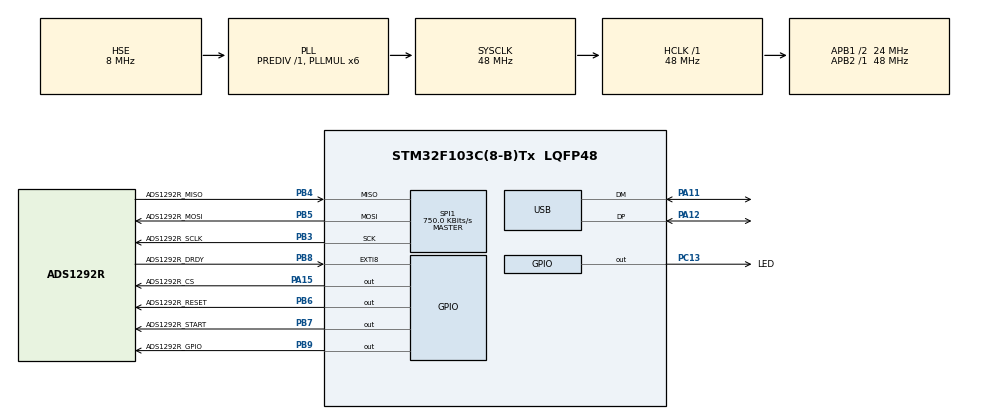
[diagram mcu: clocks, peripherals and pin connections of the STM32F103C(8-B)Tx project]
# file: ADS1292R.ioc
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Mcu.Family=STM32F1
Mcu.Name=STM32F103C(8-B)Tx
Mcu.Package=LQFP48
NVIC.EXTI9_5_IRQn=true\:0\:0\:false\:false\:true\:true\:true\:true
NVIC.PriorityGroup=NVIC_PRIORITYGROUP_4
NVIC.USB_LP_CAN1_RX0_IRQn=true\:0\:0\:false\:false\:true\:false\:true\:true
PA11.Mode=Device
PA11.Signal=USB_DM
PA12.Mode=Device
PA12.Signal=USB_DP
PA13.Mode=Serial_Wire
PA13.Signal=SYS_JTMS-SWDIO
PA14.Mode=Serial_Wire
PA14.Signal=SYS_JTCK-SWCLK
PA15.GPIO_Label=ADS1292R_CS
PA15.GPIO_PuPd=GPIO_NOPULL
PA15.PinState=GPIO_PIN_SET
PA15.Signal=GPIO_Output
PB3.GPIO_Label=ADS1292R_SCLK
PB3.Mode=Full_Duplex_Master
PB3.Signal=SPI1_SCK
PB4.GPIO_Label=ADS1292R_MISO
PB4.Mode=Full_Duplex_Master
PB4.Signal=SPI1_MISO
PB5.GPIO_Label=ADS1292R_MOSI
PB5.Mode=Full_Duplex_Master
PB5.Signal=SPI1_MOSI
PB6.GPIO_Label=ADS1292R_RESET
PB6.Signal=GPIO_Output
PB7.GPIO_Label=ADS1292R_START
PB7.Signal=GPIO_Output
PB8.GPIO_Label=ADS1292R_DRDY
PB8.GPIO_ModeDefaultEXTI=GPIO_MODE_IT_FALLING
PB8.GPIO_PuPd=GPIO_PULLUP
PB8.Signal=GPXTI8
PB9.GPIO_Label=ADS1292R_GPIO
PB9.Signal=GPIO_Output
PC13-TAMPER-RTC.GPIO_Label=LED
PC13-TAMPER-RTC.GPIO_PuPd=GPIO_PULLUP
PC13-TAMPER-RTC.PinState=GPIO_PIN_SET
PC13-TAMPER-RTC.Signal=GPIO_Output
PC14-OSC32_IN.Mode=LSE-External-Oscillator
PC14-OSC32_IN.Signal=RCC_OSC32_IN
PC15-OSC32_OUT.Mode=LSE-External-Oscillator
PC15-OSC32_OUT.Signal=RCC_OSC32_OUT
PD0-OSC_IN.Mode=HSE-External-Oscillator
PD0-OSC_IN.Signal=RCC_OSC_IN
PD1-OSC_OUT.Mode=HSE-External-Oscillator
PD1-OSC_OUT.Signal=RCC_OSC_OUT
ProjectManager.HeapSize=0x400
ProjectManager.StackSize=0x400
ProjectManager.TargetToolchain=Makefile
RCC.AHBFreq_Value=48000000
RCC.APB1CLKDivider=RCC_HCLK_DIV2
RCC.APB1Freq_Value=24000000
RCC.APB1TimFreq_Value=48000000
RCC.APB2Freq_Value=48000000
RCC.APB2TimFreq_Value=48000000
RCC.HCLKFreq_Value=48000000
RCC.PLLMUL=RCC_PLL_MUL6
RCC.SYSCLKFreq_VALUE=48000000
RCC.SYSCLKSource=RCC_SYSCLKSOURCE_PLLCLK
RCC.USBFreq_Value=48000000
SPI1.BaudRatePrescaler=SPI_BAUDRATEPRESCALER_64
SPI1.CLKPhase=SPI_PHASE_2EDGE
SPI1.CalculateBaudRate=750.0 KBits/s
SPI1.Direction=SPI_DIRECTION_2LINES
SPI1.Mode=SPI_MODE_MASTER
SPI1.VirtualType=VM_MASTER
USB_DEVICE.CLASS_NAME_FS=CDC
USB_DEVICE.VirtualMode=Cdc
USB_DEVICE.VirtualModeFS=Cdc_FS
VP_USB_DEVICE_VS_USB_DEVICE_CDC_FS.Mode=CDC_FS
board=custom

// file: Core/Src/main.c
/* USER CODE BEGIN Header */
/**
  ******************************************************************************
  * @file           : main.c
  * @brief          : Main program body
  ******************************************************************************
  * @attention
  *
  * Copyright (c) 2025 STMicroelectronics.
  * All rights reserved.
  *
  * This software is licensed under terms that can be found in the LICENSE file
  * in the root directory of this software component.
  * If no LICENSE file comes with this software, it is provided AS-IS.
  *
  ******************************************************************************
  */
/* USER CODE END Header */
#include "main.h"
#include "usb_device.h"

/* USER CODE BEGIN Includes */
#include "ads1292r.h"
/* USER CODE END Includes */

/* USER CODE BEGIN PV */
extern uint8_t ADS1292R_data_buf[9]; //ADS1292 data buffer
extern volatile uint8_t ADS1292R_receive_flag;

uint32_t channel[2] = {0}; //ADS1292R dual channel data
/* USER CODE END PV */

/* USER CODE BEGIN PFP */
uint32_t get_volt(uint32_t num);
void HAL_GPIO_EXTI_Callback(uint16_t GPIO_Pin);
/* USER CODE END PFP */

int main(void)
{

  /* MCU Configuration--------------------------------------------------------*/

  /* Reset of all peripherals, Initializes the Flash interface and the Systick. */
  HAL_Init();

  /* Configure the system clock */
  SystemClock_Config();

  /* Initialize all configured peripherals */
  MX_GPIO_Init();
  MX_SPI1_Init();
  MX_USB_DEVICE_Init();
  /* USER CODE BEGIN 2 */
  ADS1292R_Init();
  ADS1292R_ADCStartNormal();
  HAL_GPIO_WritePin(LED_GPIO_Port, LED_Pin, GPIO_PIN_RESET);
  /* USER CODE END 2 */

  /* Infinite loop */
  while (1)
  {
    if (ADS1292R_receive_flag) {
      channel[0] = get_volt(ADS1292R_data_buf[3] << 16 | ADS1292R_data_buf[4] << 8 | ADS1292R_data_buf[5]);
      channel[1] = get_volt(ADS1292R_data_buf[6] << 16 | ADS1292R_data_buf[7] << 8 | ADS1292R_data_buf[8]);
      CDC_Transmit_FS((uint8_t *)channel, sizeof(channel));
      ADS1292R_receive_flag = 0;
    }
  }
}

void SystemClock_Config(void)
{
  RCC_OscInitTypeDef RCC_OscInitStruct = {0};
  RCC_ClkInitTypeDef RCC_ClkInitStruct = {0};
  RCC_PeriphCLKInitTypeDef PeriphClkInit = {0};

  /** Initializes the RCC Oscillators according to the specified parameters
  * in the RCC_OscInitTypeDef structure.
  */
  RCC_OscInitStruct.OscillatorType = RCC_OSCILLATORTYPE_HSE;
  RCC_OscInitStruct.HSEState = RCC_HSE_ON;
  RCC_OscInitStruct.HSEPredivValue = RCC_HSE_PREDIV_DIV1;
  RCC_OscInitStruct.HSIState = RCC_HSI_ON;
  RCC_OscInitStruct.PLL.PLLState = RCC_PLL_ON;
  RCC_OscInitStruct.PLL.PLLSource = RCC_PLLSOURCE_HSE;
  RCC_OscInitStruct.PLL.PLLMUL = RCC_PLL_MUL6;
  if (HAL_RCC_OscConfig(&RCC_OscInitStruct) != HAL_OK)
  {
    Error_Handler();
  }

  /** Initializes the CPU, AHB and APB buses clocks
  */
  RCC_ClkInitStruct.ClockType = RCC_CLOCKTYPE_HCLK|RCC_CLOCKTYPE_SYSCLK
                              |RCC_CLOCKTYPE_PCLK1|RCC_CLOCKTYPE_PCLK2;
  RCC_ClkInitStruct.SYSCLKSource = RCC_SYSCLKSOURCE_PLLCLK;
  RCC_ClkInitStruct.AHBCLKDivider = RCC_SYSCLK_DIV1;
  RCC_ClkInitStruct.APB1CLKDivider = RCC_HCLK_DIV2;
  RCC_ClkInitStruct.APB2CLKDivider = RCC_HCLK_DIV1;

  if (HAL_RCC_ClockConfig(&RCC_ClkInitStruct, FLASH_LATENCY_1) != HAL_OK)
  {
    Error_Handler();
  }
  PeriphClkInit.PeriphClockSelection = RCC_PERIPHCLK_USB;
  PeriphClkInit.UsbClockSelection = RCC_USBCLKSOURCE_PLL;
  if (HAL_RCCEx_PeriphCLKConfig(&PeriphClkInit) != HAL_OK)
  {
    Error_Handler();
  }
}

void MX_SPI1_Init(void)
{

  /* SPI1 parameter configuration*/
  hspi1.Instance = SPI1;
  hspi1.Init.Mode = SPI_MODE_MASTER;
  hspi1.Init.Direction = SPI_DIRECTION_2LINES;
  hspi1.Init.DataSize = SPI_DATASIZE_8BIT;
  hspi1.Init.CLKPolarity = SPI_POLARITY_LOW;
  hspi1.Init.CLKPhase = SPI_PHASE_2EDGE;
  hspi1.Init.NSS = SPI_NSS_SOFT;
  hspi1.Init.BaudRatePrescaler = SPI_BAUDRATEPRESCALER_64;
  hspi1.Init.FirstBit = SPI_FIRSTBIT_MSB;
  hspi1.Init.TIMode = SPI_TIMODE_DISABLE;
  hspi1.Init.CRCCalculation = SPI_CRCCALCULATION_DISABLE;
  hspi1.Init.CRCPolynomial = 10;
  if (HAL_SPI_Init(&hspi1) != HAL_OK)
  {
    Error_Handler();
  }

}

void MX_GPIO_Init(void)
{
  GPIO_InitTypeDef GPIO_InitStruct = {0};

  /* GPIO Ports Clock Enable */
  __HAL_RCC_GPIOC_CLK_ENABLE();
  __HAL_RCC_GPIOD_CLK_ENABLE();
  __HAL_RCC_GPIOA_CLK_ENABLE();
  __HAL_RCC_GPIOB_CLK_ENABLE();

  /*Configure GPIO pin Output Level */
  HAL_GPIO_WritePin(LED_GPIO_Port, LED_Pin, GPIO_PIN_SET);

  /*Configure GPIO pin Output Level */
  HAL_GPIO_WritePin(ADS1292R_CS_GPIO_Port, ADS1292R_CS_Pin, GPIO_PIN_SET);

  /*Configure GPIO pin Output Level */
  HAL_GPIO_WritePin(GPIOB, ADS1292R_RESET_Pin|ADS1292R_START_Pin|ADS1292R_GPIO_Pin, GPIO_PIN_RESET);

  /*Configure GPIO pin : LED_Pin */
  GPIO_InitStruct.Pin = LED_Pin;
  GPIO_InitStruct.Mode = GPIO_MODE_OUTPUT_PP;
  GPIO_InitStruct.Pull = GPIO_PULLUP;
  GPIO_InitStruct.Speed = GPIO_SPEED_FREQ_LOW;
  HAL_GPIO_Init(LED_GPIO_Port, &GPIO_InitStruct);

  /*Configure GPIO pin : ADS1292R_CS_Pin */
  GPIO_InitStruct.Pin = ADS1292R_CS_Pin;
  GPIO_InitStruct.Mode = GPIO_MODE_OUTPUT_PP;
  GPIO_InitStruct.Pull = GPIO_NOPULL;
  GPIO_InitStruct.Speed = GPIO_SPEED_FREQ_LOW;
  HAL_GPIO_Init(ADS1292R_CS_GPIO_Port, &GPIO_InitStruct);

  /*Configure GPIO pins : ADS1292R_RESET_Pin ADS1292R_START_Pin ADS1292R_GPIO_Pin */
  GPIO_InitStruct.Pin = ADS1292R_RESET_Pin|ADS1292R_START_Pin|ADS1292R_GPIO_Pin;
  GPIO_InitStruct.Mode = GPIO_MODE_OUTPUT_PP;
  GPIO_InitStruct.Pull = GPIO_NOPULL;
  GPIO_InitStruct.Speed = GPIO_SPEED_FREQ_LOW;
  HAL_GPIO_Init(GPIOB, &GPIO_InitStruct);

  /*Configure GPIO pin : ADS1292R_DRDY_Pin */
  GPIO_InitStruct.Pin = ADS1292R_DRDY_Pin;
  GPIO_InitStruct.Mode = GPIO_MODE_IT_FALLING;
  GPIO_InitStruct.Pull = GPIO_PULLUP;
  HAL_GPIO_Init(ADS1292R_DRDY_GPIO_Port, &GPIO_InitStruct);

  /* EXTI interrupt init*/
  HAL_NVIC_SetPriority(EXTI9_5_IRQn, 0, 0);
  HAL_NVIC_EnableIRQ(EXTI9_5_IRQn);

}

/* USER CODE BEGIN 4 */

/**
  * @name   get_volt(uint32_t num)
  *
  * @brief  Convert the 3 bytes complement to a signed 32-bit number.
  *
  * @note
  *
  * @param  num: the 3 bytes data you have received.
  *
  * @retval A signed 32-bit number
  */
uint32_t get_volt(uint32_t num)
{
    uint32_t temp;
    if (num & 0x800000)
    {
        temp = num | 0xFF000000;
    }
    else
    {
        temp = num & 0x00FFFFFF;
    }
    return temp;
}

/**
  * @name   HAL_GPIO_EXTI_Callback(uint16_t GPIO_Pin)
  *
  * @brief  External interrupt callback function.
  *         When a falling edge on DRDY_Pin, the ADS1292R_receive_flag will
  *         set to 1 , then SPI will be ready to receive data.
  *
  * @note
  *
  * @retval None
  */
void HAL_GPIO_EXTI_Callback(uint16_t GPIO_Pin)
{
    if (GPIO_Pin == ADS1292R_DRDY_Pin)
    {
        ADS1292R_GetValue();
        ADS1292R_receive_flag = 1;
    }
}

/* USER CODE END 4 */

void Error_Handler(void)
{
  __disable_irq();
  while (1)
  {
  }
}
